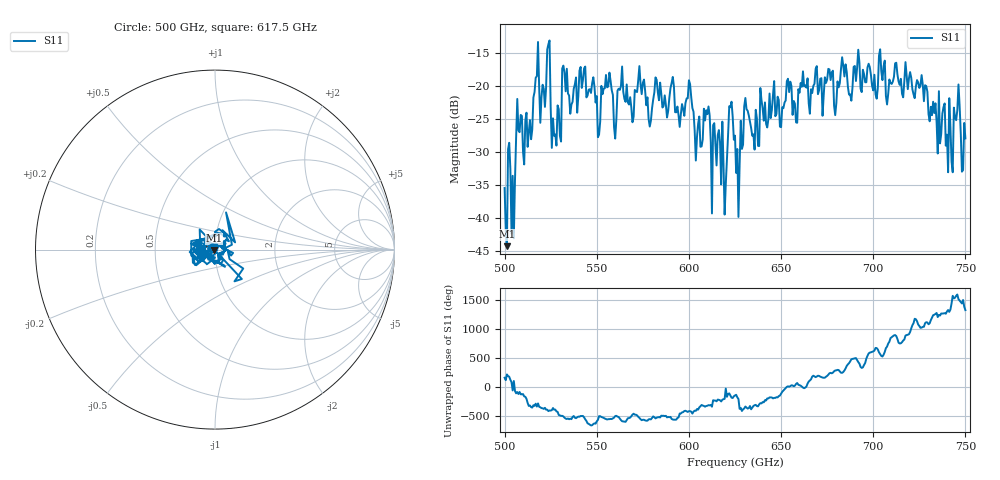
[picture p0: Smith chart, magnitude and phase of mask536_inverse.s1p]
!Created with skrf (http://scikit-rf.org).
# GHz S MA R 50.0
!freq magS11 angS11
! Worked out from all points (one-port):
!   401 points, 500 GHz to 750 GHz, reference 50 ohm
!   lowest |S11| = -44.2 dB at 501.2 GHz (marker M1), VSWR 1.01, Z = 49.5 - j0.323 ohm
!   |S11| at or under -10 dB: start of sweep to end of sweep
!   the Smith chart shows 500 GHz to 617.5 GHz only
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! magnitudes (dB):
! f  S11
! 500 GHz  -35.4
! 501.2 GHz  -44.2
! 505 GHz  -43.0
! 508.1 GHz  -27.0
! 513.8 GHz  -25.1
! 517.5 GHz  -18.5
! 520.6 GHz  -19.8
! 523.8 GHz  -13.7
! 526.9 GHz  -27.5
! 531.2 GHz  -17.3
! 542.5 GHz  -19.1
! 550.6 GHz  -27.7
! 562.5 GHz  -20.6
! 593.8 GHz  -23.1
! 610 GHz  -24.2
! 618.8 GHz  -31.7
! 622.5 GHz  -23.2
! 625 GHz  -27.5
! 626.2 GHz  -29.5
! 631.2 GHz  -23.5
! 636.9 GHz  -24.9
! 656.2 GHz  -24.3
! 676.9 GHz  -19.1
! 680 GHz  -22.5
! 683.8 GHz  -16.9
! 687.5 GHz  -21.2
! 718.8 GHz  -20.4
! 750 GHz  -27.9
